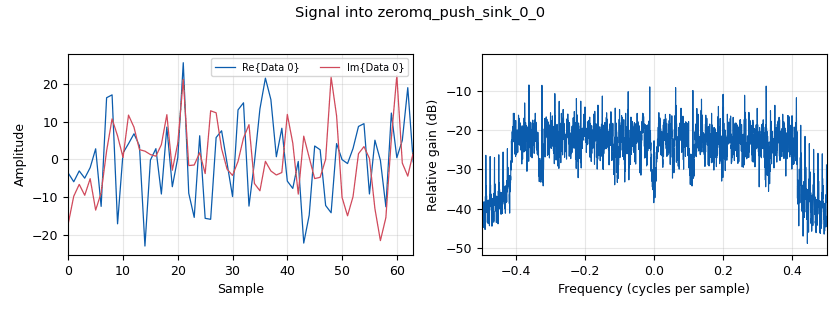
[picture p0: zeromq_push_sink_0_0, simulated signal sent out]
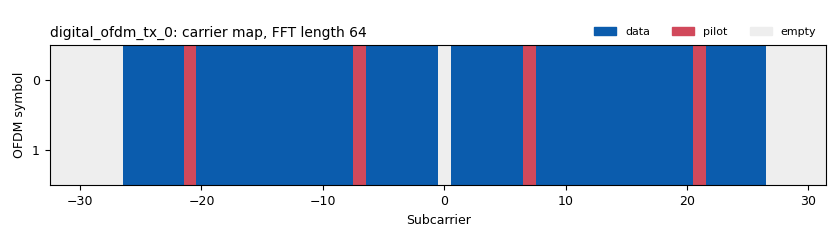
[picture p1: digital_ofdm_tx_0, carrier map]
<?xml version='1.0' encoding='utf-8'?>
<?grc format='1' created='3.7.10'?>
<flow_graph>
<block>
<key>options</key>
<param><key>id</key><value>bs_single</value></param>
<param><key>category</key><value>Custom</value></param>
<param><key>description</key><value>Single</value></param>
<param><key>generate_options</key><value>no_gui</value></param>
<param><key>max_nouts</key><value>maxnoutput</value></param>
<param><key>run_options</key><value>run</value></param>
<param><key>title</key><value>OFDM Single</value></param>
</block>
<block>
<key>variable</key>
<param><key>id</key><value>fft_len</value></param>
<param><key>value</key><value>64</value></param>
</block>
<block>
<key>variable</key>
<param><key>id</key><value>header_equalizer</value></param>
<param><key>value</key><value>digital.ofdm_equalizer_simpledfe(fft_len, header_mod.base(), occupied_carriers, pilot_carriers, pilot_symbols)</value></param>
</block>
<block>
<key>variable</key>
<param><key>id</key><value>header_formatter</value></param>
<param><key>value</key><value>digital.packet_header_ofdm(occupied_carriers, n_syms=1, len_tag_key=packet_length_tag_key, frame_len_tag_key=length_tag_key, bits_per_header_sym=header_mod.bits_per_symbol(), bits_per_payload_sym=payload_mod.bits_per_symbol(), scramble_header=False)</value></param>
</block>
<block>
<key>variable</key>
<param><key>id</key><value>header_mod</value></param>
<param><key>value</key><value>digital.constellation_bpsk()</value></param>
</block>
<block>
<key>variable_config</key>
<param><key>id</key><value>ip</value></param>
<param><key>config_file</key><value>default</value></param>
<param><key>value</key><value>"127.0.0.1"</value></param>
<param><key>option</key><value>"ip"</value></param>
<param><key>section</key><value>"bs_single"</value></param>
<param><key>type</key><value>string</value></param>
<param><key>writeback</key><value>None</value></param>
</block>
<block>
<key>variable</key>
<param><key>id</key><value>length_tag_key</value></param>
<param><key>value</key><value>"frame_len"</value></param>
</block>
<block>
<key>variable_config</key>
<param><key>id</key><value>maxnoutput</value></param>
<param><key>config_file</key><value>default</value></param>
<param><key>value</key><value>100</value></param>
<param><key>option</key><value>"maxnoutput"</value></param>
<param><key>section</key><value>"global"</value></param>
<param><key>type</key><value>int</value></param>
<param><key>writeback</key><value>None</value></param>
</block>
<block>
<key>variable</key>
<param><key>id</key><value>occupied_carriers</value></param>
<param><key>value</key><value>(range(-26, -21) + range(-20, -7) + range(-6, 0) + range(1, 7) + range(8, 21) + range(22, 27),)</value></param>
</block>
<block>
<key>variable</key>
<param><key>id</key><value>packet_length_tag_key</value></param>
<param><key>value</key><value>"packet_len"</value></param>
</block>
<block>
<key>variable</key>
<param><key>id</key><value>payload_equalizer</value></param>
<param><key>value</key><value>digital.ofdm_equalizer_simpledfe(fft_len, payload_mod.base(), occupied_carriers, pilot_carriers, pilot_symbols, 1)</value></param>
</block>
<block>
<key>variable</key>
<param><key>id</key><value>payload_mod</value></param>
<param><key>value</key><value>digital.constellation_qpsk()</value></param>
</block>
<block>
<key>variable</key>
<param><key>id</key><value>pilot_carriers</value></param>
<param><key>value</key><value>((-21, -7, 7, 21,),)</value></param>
</block>
<block>
<key>variable</key>
<param><key>id</key><value>pilot_symbols</value></param>
<param><key>value</key><value>((1, 1, 1, -1,),)</value></param>
</block>
<block>
<key>variable_config</key>
<param><key>id</key><value>port</value></param>
<param><key>config_file</key><value>default</value></param>
<param><key>value</key><value>"2666"</value></param>
<param><key>option</key><value>"port"</value></param>
<param><key>section</key><value>"bs_single"</value></param>
<param><key>type</key><value>string</value></param>
<param><key>writeback</key><value>None</value></param>
</block>
<block>
<key>variable</key>
<param><key>id</key><value>sync_word1</value></param>
<param><key>value</key><value>[0., 0., 0., 0., 0., 0., 0., 1.41421356, 0., -1.41421356, 0., 1.41421356, 0., -1.41421356, 0., -1.41421356, 0., -1.41421356, 0., 1.41421356, 0., -1.41421356, 0., 1.41421356, 0., -1.41421356, 0., -1.41421356, 0., -1.41421356, 0., -1.41421356, 0., 1.41421356, 0., -1.41421356, 0., 1.41421356, 0., 1.41421356, 0., 1.41421356, 0., -1.41421356, 0., 1.41421356, 0., 1.41421356, 0., 1.41421356, 0., -1.41421356, 0., 1.41421356, 0., 1.41421356, 0., 1.41421356, 0., 0., 0., 0., 0., 0.]</value></param>
</block>
<block>
<key>variable</key>
<param><key>id</key><value>sync_word2</value></param>
<param><key>value</key><value>[0j, 0j, 0j, 0j, 0j, 0j, (-1+0j), (-1+0j), (-1+0j), (-1+0j), (1+0j), (1+0j), (-1+0j), (-1+0j), (-1+0j), (1+0j), (-1+0j), (1+0j), (1+0j), (1 +0j), (1+0j), (1+0j), (-1+0j), (-1+0j), (-1+0j), (-1+0j), (-1+0j), (1+0j), (-1+0j), (-1+0j), (1+0j), (-1+0j), 0j, (1+0j), (-1+0j), (1+0j), (1+0j), (1+0j), (-1+0j), (1+0j), (1+0j), (1+0j), (-1+0j), (1+0j), (1+0j), (1+0j), (1+0j), (-1+0j), (1+0j), (-1+0j), (-1+0j), (-1+0j), (1+0j), (-1+0j), (1+0j), (-1+0j), (-1+0j), (-1+0j), (-1+0j), 0j, 0j, 0j, 0j, 0j]</value></param>
</block>
<block>
<key>variable_config</key>
<param><key>id</key><value>timeout</value></param>
<param><key>config_file</key><value>default</value></param>
<param><key>value</key><value>100</value></param>
<param><key>option</key><value>"zmqtimeout"</value></param>
<param><key>section</key><value>"global"</value></param>
<param><key>type</key><value>int</value></param>
<param><key>writeback</key><value>None</value></param>
</block>
<block>
<key>variable_config</key>
<param><key>id</key><value>usrpip</value></param>
<param><key>config_file</key><value>default</value></param>
<param><key>value</key><value>"127.0.0.1"</value></param>
<param><key>option</key><value>"ip"</value></param>
<param><key>section</key><value>"usrp"</value></param>
<param><key>type</key><value>string</value></param>
<param><key>writeback</key><value>None</value></param>
</block>
<block>
<key>variable_config</key>
<param><key>id</key><value>usrpport</value></param>
<param><key>config_file</key><value>default</value></param>
<param><key>value</key><value>"2666"</value></param>
<param><key>option</key><value>"rxoutport"</value></param>
<param><key>section</key><value>"usrp"</value></param>
<param><key>type</key><value>string</value></param>
<param><key>writeback</key><value>None</value></param>
</block>
<block>
<key>analog_random_source_x</key>
<param><key>id</key><value>analog_random_source_x_0</value></param>
<param><key>max</key><value>100</value></param>
<param><key>min</key><value>0</value></param>
<param><key>num_samps</key><value>1000</value></param>
<param><key>type</key><value>byte</value></param>
<param><key>repeat</key><value>True</value></param>
</block>
<block>
<key>blocks_pdu_to_tagged_stream</key>
<param><key>id</key><value>blocks_pdu_to_tagged_stream_0</value></param>
<param><key>_enabled</key><value>0</value></param>
<param><key>type</key><value>byte</value></param>
<param><key>tag</key><value>packet_len</value></param>
</block>
<block>
<key>blocks_stream_to_tagged_stream</key>
<param><key>id</key><value>blocks_stream_to_tagged_stream_0</value></param>
<param><key>len_tag_key</key><value>"packet_len"</value></param>
<param><key>packet_len</key><value>100</value></param>
<param><key>type</key><value>byte</value></param>
</block>
<block>
<key>blocks_tag_debug</key>
<param><key>id</key><value>blocks_tag_debug_0</value></param>
<param><key>type</key><value>byte</value></param>
<param><key>name</key><value>Tx'd Packets</value></param>
</block>
<block>
<key>blocks_tag_debug</key>
<param><key>id</key><value>blocks_tag_debug_0_0</value></param>
<param><key>_enabled</key><value>0</value></param>
<param><key>type</key><value>byte</value></param>
<param><key>name</key><value>Rx'd Packets</value></param>
</block>
<block>
<key>blocks_tagged_stream_to_pdu</key>
<param><key>id</key><value>blocks_tagged_stream_to_pdu_0</value></param>
<param><key>_enabled</key><value>0</value></param>
<param><key>type</key><value>byte</value></param>
<param><key>tag</key><value>packet_len</value></param>
</block>
<block>
<key>blocks_throttle</key>
<param><key>id</key><value>blocks_throttle_0</value></param>
<param><key>samples_per_second</key><value>1e6</value></param>
<param><key>type</key><value>complex</value></param>
</block>
<block>
<key>blocks_tuntap_pdu</key>
<param><key>id</key><value>blocks_tuntap_pdu_0</value></param>
<param><key>_enabled</key><value>0</value></param>
<param><key>istunflag</key><value>False</value></param>
<param><key>ifn</key><value>tap0</value></param>
<param><key>mtu</key><value>10000</value></param>
</block>
<block>
<key>digital_ofdm_rx</key>
<param><key>id</key><value>digital_ofdm_rx_0</value></param>
<param><key>cp_len</key><value>fft_len/4</value></param>
<param><key>_enabled</key><value>0</value></param>
<param><key>fft_len</key><value>fft_len</value></param>
<param><key>header_mod</key><value>"BPSK"</value></param>
<param><key>occupied_carriers</key><value>occupied_carriers</value></param>
<param><key>packet_len_key</key><value>packet_len</value></param>
<param><key>payload_mod</key><value>"QPSK"</value></param>
<param><key>pilot_carriers</key><value>pilot_carriers</value></param>
<param><key>pilot_symbols</key><value>pilot_symbols</value></param>
<param><key>sync_word1</key><value>sync_word1</value></param>
<param><key>sync_word2</key><value>sync_word2</value></param>
</block>
<block>
<key>digital_ofdm_tx</key>
<param><key>id</key><value>digital_ofdm_tx_0</value></param>
<param><key>cp_len</key><value>fft_len/4</value></param>
<param><key>fft_len</key><value>fft_len</value></param>
<param><key>header_mod</key><value>"BPSK"</value></param>
<param><key>packet_len_key</key><value>packet_length_tag_key</value></param>
<param><key>log</key><value>True</value></param>
<param><key>occupied_carriers</key><value>occupied_carriers</value></param>
<param><key>payload_mod</key><value>"QPSK"</value></param>
<param><key>pilot_carriers</key><value>pilot_carriers</value></param>
<param><key>pilot_symbols</key><value>pilot_symbols</value></param>
<param><key>rolloff</key><value>0</value></param>
<param><key>sync_word1</key><value>sync_word1</value></param>
<param><key>sync_word2</key><value>sync_word2</value></param>
</block>
<block>
<key>import</key>
<param><key>id</key><value>import_1</value></param>
<param><key>import</key><value>from gnuradio.digital.utils import tagged_streams</value></param>
</block>
<block>
<key>zeromq_pull_source</key>
<param><key>id</key><value>zeromq_pull_source_0_0</value></param>
<param><key>address</key><value>"tcp://" + usrpip + ":" + usrpport</value></param>
<param><key>_enabled</key><value>0</value></param>
<param><key>type</key><value>complex</value></param>
<param><key>pass_tags</key><value>True</value></param>
<param><key>timeout</key><value>timeout</value></param>
</block>
<block>
<key>zeromq_push_sink</key>
<param><key>id</key><value>zeromq_push_sink_0_0</value></param>
<param><key>address</key><value>"tcp://" + ip + ":" + port</value></param>
<param><key>type</key><value>complex</value></param>
<param><key>pass_tags</key><value>True</value></param>
<param><key>timeout</key><value>timeout</value></param>
</block>
<connection><source_block_id>analog_random_source_x_0</source_block_id><sink_block_id>blocks_stream_to_tagged_stream_0</sink_block_id><source_key>0</source_key><sink_key>0</sink_key></connection>
<connection><source_block_id>blocks_pdu_to_tagged_stream_0</source_block_id><sink_block_id>blocks_tag_debug_0</sink_block_id><source_key>0</source_key><sink_key>0</sink_key></connection>
<connection><source_block_id>blocks_pdu_to_tagged_stream_0</source_block_id><sink_block_id>digital_ofdm_tx_0</sink_block_id><source_key>0</source_key><sink_key>0</sink_key></connection>
<connection><source_block_id>blocks_stream_to_tagged_stream_0</source_block_id><sink_block_id>blocks_tag_debug_0</sink_block_id><source_key>0</source_key><sink_key>0</sink_key></connection>
<connection><source_block_id>blocks_stream_to_tagged_stream_0</source_block_id><sink_block_id>digital_ofdm_tx_0</sink_block_id><source_key>0</source_key><sink_key>0</sink_key></connection>
<connection><source_block_id>blocks_tagged_stream_to_pdu_0</source_block_id><sink_block_id>blocks_tuntap_pdu_0</sink_block_id><source_key>pdus</source_key><sink_key>pdus</sink_key></connection>
<connection><source_block_id>blocks_throttle_0</source_block_id><sink_block_id>zeromq_push_sink_0_0</sink_block_id><source_key>0</source_key><sink_key>0</sink_key></connection>
<connection><source_block_id>blocks_tuntap_pdu_0</source_block_id><sink_block_id>blocks_pdu_to_tagged_stream_0</sink_block_id><source_key>pdus</source_key><sink_key>pdus</sink_key></connection>
<connection><source_block_id>digital_ofdm_rx_0</source_block_id><sink_block_id>blocks_tag_debug_0_0</sink_block_id><source_key>0</source_key><sink_key>0</sink_key></connection>
<connection><source_block_id>digital_ofdm_rx_0</source_block_id><sink_block_id>blocks_tagged_stream_to_pdu_0</sink_block_id><source_key>0</source_key><sink_key>0</sink_key></connection>
<connection><source_block_id>digital_ofdm_tx_0</source_block_id><sink_block_id>blocks_throttle_0</sink_block_id><source_key>0</source_key><sink_key>0</sink_key></connection>
<connection><source_block_id>zeromq_pull_source_0_0</source_block_id><sink_block_id>digital_ofdm_rx_0</sink_block_id><source_key>0</source_key><sink_key>0</sink_key></connection>
</flow_graph>
